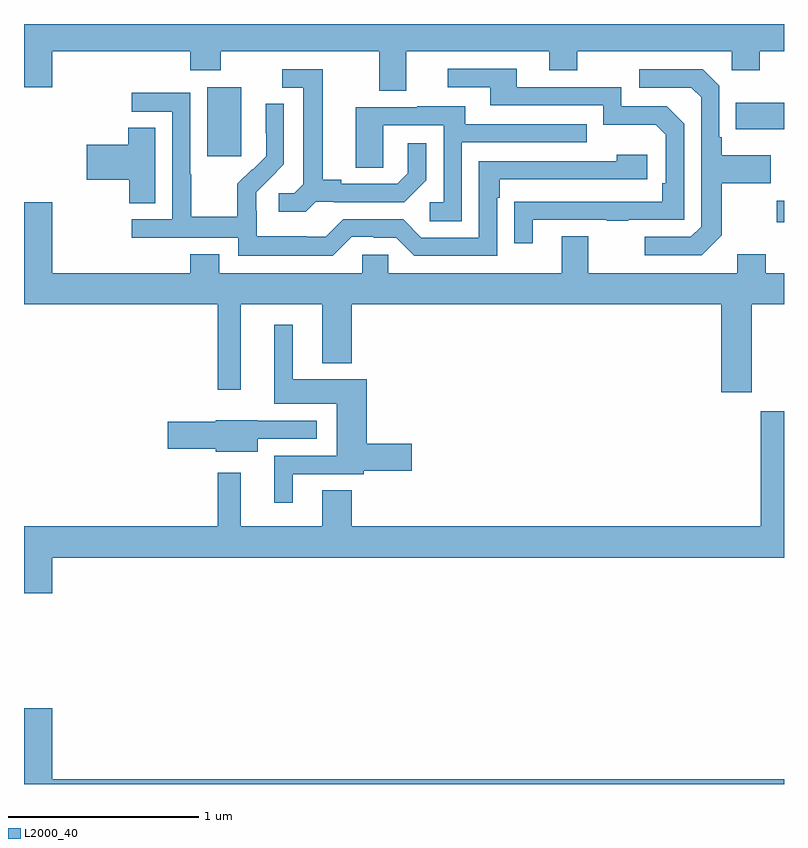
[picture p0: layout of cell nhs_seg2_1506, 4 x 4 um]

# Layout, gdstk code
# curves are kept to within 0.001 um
import gdstk
lib = gdstk.Library(unit=1e-6, precision=1e-09)
def R(c, l, rs):  # rectangles x0, y0, x1, y1
    for r in rs: c.add(gdstk.rectangle(r[:2], r[2:], *l))
def P(c, l, *ps):  # polygons
    for p in ps: c.add(gdstk.Polygon(p, *l))
L2000_40 = (2000, 40)

nhs_seg2_1506 = lib.new_cell('nhs_seg2_1506')
R(nhs_seg2_1506, L2000_40, [(192.963,626.757,193,626.87), (189.965,627.105,190.144,627.466), (192.745,627.245,193,627.385)])
P(nhs_seg2_1506, L2000_40, [(191.011,627.656),(191.765,627.656),(191.765,627.557),(191.913,627.557),(191.913,627.656),(192.726,627.656),(192.726,627.557),(192.873,627.557),(192.873,627.656),(193,627.656),(193,627.8),(189,627.8),(189,627.468),(189.148,627.468),(189.148,627.656),(189.875,627.656),(189.875,627.557),(190.035,627.557),(190.035,627.656),(190.871,627.656),(190.871,627.448),(191.011,627.448)],
  [(191.677,626.769),(192.067,626.769),(192.067,626.764),(192.179,626.764),(192.179,626.769),(192.474,626.769),(192.474,627.276),(192.384,627.366),(192.144,627.366),(192.144,627.468),(191.593,627.468),(191.593,627.564),(191.229,627.564),(191.229,627.468),(191.453,627.468),(191.453,627.372),(192.048,627.372),(192.048,627.269),(192.325,627.269),(192.378,627.216),(192.378,626.962),(192.358,626.962),(192.358,626.865),(191.581,626.864),(191.581,626.646),(191.677,626.646)],
  [(192.673,626.689),(192.673,626.962),(192.929,626.962),(192.929,627.109),(192.673,627.109),(192.673,627.205),(192.66,627.205),(192.66,627.474),(192.573,627.561),(192.237,627.561),(192.237,627.465),(192.513,627.465),(192.564,627.414),(192.564,626.733),(192.51,626.679),(192.267,626.679),(192.267,626.583),(192.567,626.583)],
  [(190.536,626.865),(190.63,626.865),(190.63,626.862),(191.002,626.862),(191.118,626.978),(191.118,627.172),(191.021,627.172),(191.021,627.015),(190.964,626.958),(190.669,626.958),(190.669,626.981),(190.573,626.981),(190.573,627.561),(190.359,627.561),(190.359,627.465),(190.469,627.465),(190.469,626.957),(190.422,626.91),(190.341,626.91),(190.341,626.813),(190.484,626.813)],
  [(190.725,626.679),(190.841,626.679),(190.841,626.676),(190.959,626.676),(191.055,626.58),(191.49,626.58),(191.49,626.885),(191.503,626.885),(191.503,626.982),(192.28,626.982),(192.28,627.112),(192.119,627.112),(192.119,627.078),(191.394,627.078),(191.394,626.676),(191.091,626.676),(190.995,626.772),(190.68,626.772),(190.587,626.679),(190.487,626.679),(190.487,626.683),(190.224,626.683),(190.224,626.817),(190.222,626.817),(190.222,626.914),(190.368,627.062),(190.368,627.38),(190.272,627.38),(190.272,627.226),(190.274,627.226),(190.274,627.104),(190.203,627.033),(190.2,627.036),(190.123,626.959),(190.123,626.785),(189.879,626.785),(189.879,627.008),(189.876,627.008),(189.876,627.438),(189.567,627.438),(189.567,627.339),(189.78,627.339),(189.78,626.772),(189.567,626.772),(189.567,626.676),(190.128,626.676),(190.128,626.579),(190.625,626.579)],
  [(191.304,627.177),(191.963,627.177),(191.963,627.273),(191.323,627.273),(191.323,627.367),(191.069,627.367),(191.069,627.363),(190.745,627.363),(190.745,627.043),(190.89,627.043),(190.89,627.267),(191.208,627.267),(191.208,626.862),(191.136,626.862),(191.136,626.761),(191.304,626.761)],
  [(189.691,627.254),(189.548,627.254),(189.548,627.164),(189.33,627.164),(189.33,626.981),(189.553,626.981),(189.553,626.857),(189.691,626.857)],
  [(191.971,626.683),(191.831,626.683),(191.831,626.488),(190.917,626.488),(190.917,626.586),(190.779,626.586),(190.779,626.488),(190.027,626.488),(190.027,626.587),(189.875,626.587),(189.875,626.488),(189.148,626.488),(189.148,626.863),(189,626.863),(189,626.324),(190.02,626.324),(190.02,625.875),(190.141,625.875),(190.141,626.324),(190.571,626.324),(190.571,626.015),(190.724,626.015),(190.724,626.324),(192.671,626.324),(192.671,625.863),(192.831,625.863),(192.831,626.324),(193,626.324),(193,626.488),(192.903,626.488),(192.903,626.587),(192.755,626.587),(192.755,626.488),(191.971,626.488)],
  [(190.414,625.431),(190.788,625.431),(190.788,625.45),(191.041,625.45),(191.041,625.592),(190.805,625.592),(190.805,625.93),(190.414,625.93),(190.414,626.218),(190.316,626.218),(190.316,625.802),(190.646,625.802),(190.646,625.527),(190.316,625.527),(190.316,625.281),(190.414,625.281)],
  [(189.148,624.992),(193,624.992),(193,625.762),(192.878,625.762),(192.878,625.156),(190.724,625.156),(190.724,625.346),(190.571,625.346),(190.571,625.156),(190.141,625.156),(190.141,625.438),(190.02,625.438),(190.02,625.156),(189,625.156),(189,624.804),(189.148,624.804)],
  [(190.231,625.617),(190.54,625.617),(190.54,625.713),(190.227,625.713),(190.227,625.714),(190.008,625.714),(190.008,625.706),(189.756,625.706),(189.756,625.564),(190.008,625.564),(190.008,625.55),(190.231,625.55)],
  [(189.148,624.199),(189,624.199),(189,623.8),(193,623.8),(193,623.824),(189.148,623.824)])

lib.write_gds('nhs_seg2_1506.gds')
